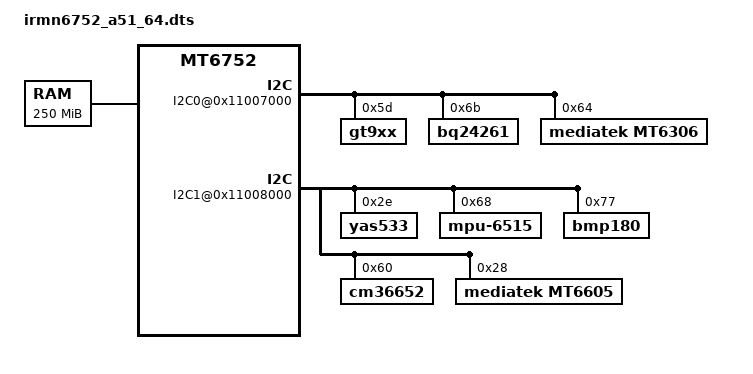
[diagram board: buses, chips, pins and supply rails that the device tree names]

/dts-v1/;

/include/ "mt6752.dtsi"

/ {
	memory@00000000 {
		device_type = "memory";
		reg = <0 0x40000000 0 0xFA00000>;
	};

	bus {
		compatible = "simple-bus";
		#address-cells = <1>;
		#size-cells = <1>;
		ranges = <0 0 0 0xffffffff>;

		I2C0@0x11007000 {
			gt9xx@5d {
				compatible = "gt9xx";
				reg = <0x5d>;
			};

			bq24261@6b {
				compatible = "bq24261";
				reg = <0x6b>;
			};

			mt6306@64 {
				compatible = "mediatek,mt6306";
				reg = <0x64>;
			};
		};

		I2C1@0x11008000 {
			yas533@2e {
				compatible = "yas533";
				reg = <0x2e>;
			};

			mpu-6515@68 {
				compatible = "mpu-6515";
				reg = <0x68>;
			};

			bmp180@77 {
				compatible = "bmp180";
				reg = <0x77>;
			};

			cm36652@60 {
				compatble = "cm36652";
				reg = <0x60>;
			};

			mt6605@28 {
				compatible = "mediatek,mt6605";
				reg = <0x28>;
			};
		};

	};

    TOUCH@0 {
	    compatible = "mediatek,TPD";
        eint-gpio = <139 0>;
        rst-gpio = <144 0>;
    };

	reserved-memory {
#address-cells = <2>;
#size-cells = <2>;
		ranges;

		reserve-memory-ccci_md1 {
			compatible = "reserve-memory-ccci_md1";
			no-map;
			size = <0 0x8200000>;
			alignment = <0 0x2000000>;
			alloc-ranges = <0 0x40000000 0 0xC0000000>;
		};
	};
};
